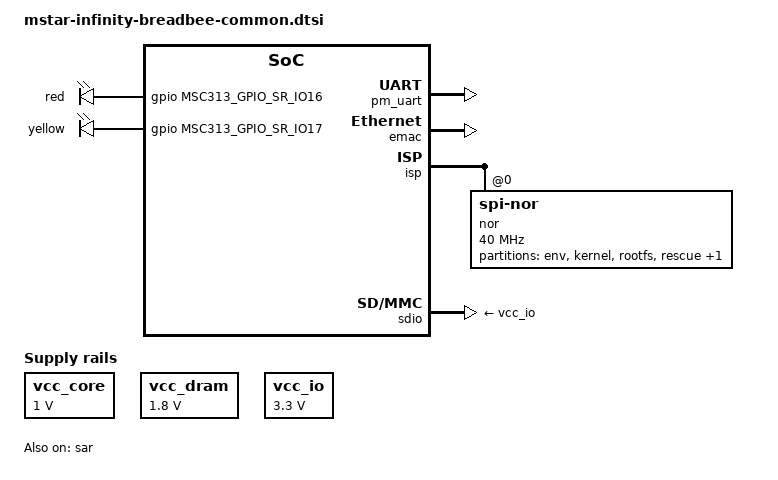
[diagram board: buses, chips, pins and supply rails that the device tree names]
// SPDX-License-Identifier: GPL-2.0
/*
 * Copyright (c) 2020 thingy.jp.
 * Author: Daniel Palmer <daniel@thingy.jp>
 */

#include <dt-bindings/gpio/gpio.h>

/ {
	chosen {
		stdout-path = "serial0:115200n8";
		bootargs = "console=ttyS0,115200 root=/dev/mtdblock3 clk_ignore_unused quiet";
	};

	aliases {
		console = &pm_uart;
		ethernet0 = &emac;
	};

	vcc_core: fixedregulator@0 {
		compatible = "regulator-fixed";
		regulator-name = "vcc_core";
		regulator-min-microvolt = <1000000>;
		regulator-max-microvolt = <1000000>;
		regulator-boot-on;
	};

	vcc_dram: fixedregulator@1 {
		compatible = "regulator-fixed";
		regulator-name = "vcc_dram";
		regulator-min-microvolt = <1800000>;
		regulator-max-microvolt = <1800000>;
		regulator-boot-on;
	};

	vcc_io: fixedregulator@2 {
		compatible = "regulator-fixed";
		regulator-name = "vcc_io";
		regulator-min-microvolt = <3300000>;
		regulator-max-microvolt = <3300000>;
		regulator-boot-on;
	};

	leds {
		compatible = "gpio-leds";
		red {
			gpios = <&gpio MSC313_GPIO_SR_IO16 GPIO_ACTIVE_HIGH>;
			linux,default-trigger = "activity";
		};
		yellow {
			gpios = <&gpio MSC313_GPIO_SR_IO17 GPIO_ACTIVE_HIGH>;
			linux,default-trigger = "heartbeat";
		};
	};
};

&cpu0 {
	cpu-supply = <&vcc_core>;
};

&miu {
	ddr-supply = <&vcc_dram>;
};

&pm_uart {
	status = "okay";
};

&emac {
	status = "okay";
};

&isp {
	status = "okay";
	nor: nor@0 {
		#address-cells = <1>;
		#size-cells = <1>;
		compatible = "jedec,spi-nor";
		reg = <0>;
		spi-max-frequency = <40000000>;
		spi-rx-bus-width = <2>;
		partitions {
			compatible = "fixed-partitions";
			#address-cells = <1>;
			#size-cells = <1>;

			env@2000 {
				label = "env";
				reg = <0x2000 0x2000>;
			};

			kernel@80000{
				label = "kernel";
				reg = <0x80000 0x300000>;
			};

			rootfs@380000 {
				label = "rootfs";
				reg = <0x380000 0x980000>;
			};

			rescue@d00000 {
				label = "rescue";
				reg = <0xd00000 0x2c0000>;
			};

			rw@fc0000 {
				label = "rw";
				reg = <0xfc0000 0x40000>;
			};
		};
	};
};

&sar {
	status = "okay";
};

&sdio {
	vmmc-supply = <&vcc_io>;
	vqmmc-supply = <&vcc_io>;
};
